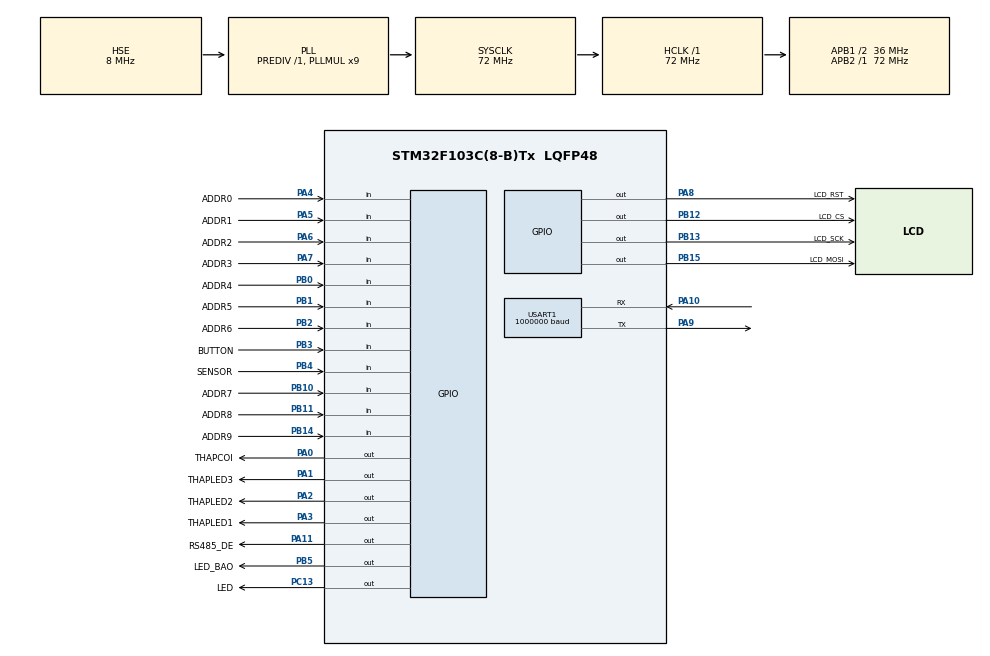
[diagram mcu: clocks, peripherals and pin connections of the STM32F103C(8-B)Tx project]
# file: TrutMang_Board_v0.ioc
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Mcu.Family=STM32F1
Mcu.Name=STM32F103C(8-B)Tx
Mcu.Package=LQFP48
NVIC.PriorityGroup=NVIC_PRIORITYGROUP_4
NVIC.TIM1_UP_IRQn=true\:0\:0\:false\:false\:true\:true\:true\:true
NVIC.TIM2_IRQn=true\:0\:0\:false\:false\:true\:true\:true\:true
NVIC.USART1_IRQn=true\:0\:0\:false\:false\:true\:true\:true\:true
PA0-WKUP.GPIO_Label=THAPCOI
PA0-WKUP.Signal=GPIO_Output
PA1.GPIO_Label=THAPLED3
PA1.Signal=GPIO_Output
PA10.Mode=Asynchronous
PA10.Signal=USART1_RX
PA11.GPIO_Label=RS485_DE
PA11.Signal=GPIO_Output
PA13.Mode=Serial_Wire
PA13.Signal=SYS_JTMS-SWDIO
PA14.Mode=Serial_Wire
PA14.Signal=SYS_JTCK-SWCLK
PA2.GPIO_Label=THAPLED2
PA2.Signal=GPIO_Output
PA3.GPIO_Label=THAPLED1
PA3.Signal=GPIO_Output
PA4.GPIO_Label=ADDR0
PA4.GPIO_PuPd=GPIO_PULLUP
PA4.Signal=GPIO_Input
PA5.GPIO_Label=ADDR1
PA5.GPIO_PuPd=GPIO_PULLUP
PA5.Signal=GPIO_Input
PA6.GPIO_Label=ADDR2
PA6.GPIO_PuPd=GPIO_PULLUP
PA6.Signal=GPIO_Input
PA7.GPIO_Label=ADDR3
PA7.GPIO_PuPd=GPIO_PULLUP
PA7.Signal=GPIO_Input
PA8.GPIO_Label=LCD_RST
PA8.Signal=GPIO_Output
PA9.Mode=Asynchronous
PA9.Signal=USART1_TX
PB0.GPIO_Label=ADDR4
PB0.GPIO_PuPd=GPIO_PULLUP
PB0.Signal=GPIO_Input
PB1.GPIO_Label=ADDR5
PB1.GPIO_PuPd=GPIO_PULLUP
PB1.Signal=GPIO_Input
PB10.GPIO_Label=ADDR7
PB10.GPIO_PuPd=GPIO_PULLUP
PB10.Signal=GPIO_Input
PB11.GPIO_Label=ADDR8
PB11.GPIO_PuPd=GPIO_PULLUP
PB11.Signal=GPIO_Input
PB12.GPIO_Label=LCD_CS
PB12.Signal=GPIO_Output
PB13.GPIO_Label=LCD_SCK
PB13.Signal=GPIO_Output
PB14.GPIO_Label=ADDR9
PB14.GPIO_PuPd=GPIO_PULLUP
PB14.Signal=GPIO_Input
PB15.GPIO_Label=LCD_MOSI
PB15.Signal=GPIO_Output
PB2.GPIO_Label=ADDR6
PB2.GPIO_PuPd=GPIO_PULLUP
PB2.Signal=GPIO_Input
PB3.GPIO_Label=BUTTON
PB3.GPIO_PuPd=GPIO_PULLUP
PB3.Signal=GPIO_Input
PB4.GPIO_Label=SENSOR
PB4.Signal=GPIO_Input
PB5.GPIO_Label=LED_BAO
PB5.Signal=GPIO_Output
PC13-TAMPER-RTC.GPIO_Label=LED
PC13-TAMPER-RTC.Signal=GPIO_Output
PD0-OSC_IN.Mode=HSE-External-Oscillator
PD0-OSC_IN.Signal=RCC_OSC_IN
PD1-OSC_OUT.Mode=HSE-External-Oscillator
PD1-OSC_OUT.Signal=RCC_OSC_OUT
ProjectManager.HeapSize=0x200
ProjectManager.StackSize=0x400
ProjectManager.TargetToolchain=MDK-ARM V5.32
RCC.AHBFreq_Value=72000000
RCC.APB1CLKDivider=RCC_HCLK_DIV2
RCC.APB1Freq_Value=36000000
RCC.APB1TimFreq_Value=72000000
RCC.APB2Freq_Value=72000000
RCC.APB2TimFreq_Value=72000000
RCC.HCLKFreq_Value=72000000
RCC.PLLMUL=RCC_PLL_MUL9
RCC.PLLSourceVirtual=RCC_PLLSOURCE_HSE
RCC.SYSCLKFreq_VALUE=72000000
RCC.SYSCLKSource=RCC_SYSCLKSOURCE_PLLCLK
RCC.USBFreq_Value=72000000
TIM1.Prescaler=71
TIM2.Period=999
TIM2.Prescaler=71
USART1.BaudRate=1000000
USART1.VirtualMode=VM_ASYNC
VP_TIM1_VS_ClockSourceINT.Mode=Internal
VP_TIM2_VS_ClockSourceINT.Mode=Internal
board=custom

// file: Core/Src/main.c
/* USER CODE BEGIN Header */
/**
  ******************************************************************************
  * @file           : main.c
  * @brief          : Main program body
  ******************************************************************************
  * @attention
  *
  * Copyright (c) 2024 STMicroelectronics.
  * All rights reserved.
  *
  * This software is licensed under terms that can be found in the LICENSE file
  * in the root directory of this software component.
  * If no LICENSE file comes with this software, it is provided AS-IS.
  *
  ******************************************************************************
  */
/* USER CODE END Header */
#include "main.h"

/* USER CODE BEGIN Includes */
#include "st7920.h"
#include <string.h>
#include <stdio.h>
#include "stdlib.h"
#include <math.h>
#include "rs485.h"

/* USER CODE END Includes */

TIM_HandleTypeDef htim1;
TIM_HandleTypeDef htim2;

UART_HandleTypeDef huart1;

/* USER CODE BEGIN PV */
	uint16_t cnt_flag_led = 0;

	char ROW0[16], ROW1[16], ROW2[16], ROW3[16];

	extern rs485_t vRS485;
	extern const unsigned char viettel_post[];

	uint16_t flag_display_lcd = 0;

	uint16_t cnt_flag_autosend = 0;

	uint8_t num_id = 1;

	uint16_t num_irq = 0;

	uint8_t sensor_status = 0;

	uint32_t start;

	uint16_t time_alarm = 2000;

	uint8_t led_status;

	uint8_t flag_sensor;

	uint16_t cnt_RS485_send;

	uint8_t hour = 0;
	uint8_t minute = 0;
	uint32_t danhan = 0, dagui = 0, miss_mess = 0;
	uint16_t num_rx = 0;

	uint16_t address_chute;

	uint16_t quantity=999;

	uint8_t a0,a1,a2,a3,a4,a5,a6,a7,a8,a9;

	uint8_t rxbuff[16];

	uint8_t ID_chute = 0x01;

	uint8_t quanty_sp;

	uint8_t cnt_ID = 0;

	char *chute_status;

	uint16_t address_chute = 1;

/* USER CODE END PV */

/* Priv	ate function prototypes -----------------------------------------------*/
void SystemClock_Config(void);
static void MX_GPIO_Init(void);
static void MX_TIM1_Init(void);
static void MX_USART1_UART_Init(void);
static void MX_TIM2_Init(void);

/* USER CODE BEGIN 0 */

		void HAL_UART_RxCpltCallback(UART_HandleTypeDef *huart) {
			if(huart->Instance == USART1)
			{
				RS485_Read(&vRS485);
				HAL_UART_Receive_IT(&huart1, &vRS485.rxByte, 1);
			}
		}

	/*_____________________________________________________________*/
//	void HAL_UART_RxCpltCallback(UART_HandleTypeDef *huart) {
//			if(huart->Instance == USART1)
//			{
//				RS485_Read(&vRS485);
//				HAL_UART_Receive_IT(&huart1, &vRS485.rxByte, 1);
//				num_irq++;
//			}
//		}

	/*_____________________________________________________________*/
		void HAL_TIM_PeriodElapsedCallback(TIM_HandleTypeDef *htim){
			UNUSED(htim);

			if (htim->Instance == htim2.Instance){ 	// every 1ms
				cnt_flag_led++;
				cnt_flag_autosend++;
				flag_display_lcd++;
				cnt_RS485_send++;
			}
		}

/* USER CODE END 0 */

int main(void)
{

  /* MCU Configuration--------------------------------------------------------*/

  /* Reset of all peripherals, Initializes the Flash interface and the Systick. */
  HAL_Init();

  /* Configure the system clock */
  SystemClock_Config();

  /* Initialize all configured peripherals */
  MX_GPIO_Init();
  MX_TIM1_Init();
  MX_USART1_UART_Init();
  MX_TIM2_Init();
  /* USER CODE BEGIN 2 */
	RS485_Init(&vRS485,&huart1);

	HAL_TIM_Base_Start_IT(&htim1);
	HAL_TIM_Base_Start_IT(&htim2);

	memset(ROW0, 0x00, 16);
	memset(ROW1, 0x00, 16);
	memset(ROW2, 0x00, 16);
	memset(ROW3, 0x00, 16);

	ST7920_Init();

	ST7920_GraphicMode(1);
	ST7920_DrawBitmap(viettel_post);

	HAL_Delay(2000);

	ST7920_GraphicMode(0);
	ST7920_Clear();

//	sprintf(ROW0, "ID: %d", vRS485.ID_Board);
//	sprintf(ROW1, "LEHUUAN - 457735");
//	sprintf(ROW2, "VIETTEL POST");
//	sprintf(ROW3, "THEOCACHCUABAN");

//	ST7920_SendString(0, 0, ROW0);
//	ST7920_SendString(1, 0, ROW1);
//	ST7920_SendString(2, 0, ROW2);
//	ST7920_SendString(3, 0, ROW3);

//	HAL_UART_Receive_IT(&huart1, &vRS485.rxByte, 1);

  /* USER CODE END 2 */

  /* Infinite loop */
  while (1)
  {

    /* USER CODE BEGIN 3 */

//		a0 = HAL_GPIO_ReadPin(ADDR0_GPIO_Port,ADDR0_Pin);
//		a1 = HAL_GPIO_ReadPin(ADDR1_GPIO_Port,ADDR1_Pin);
//		a2 = HAL_GPIO_ReadPin(ADDR2_GPIO_Port,ADDR2_Pin);
//		a3 = HAL_GPIO_ReadPin(ADDR3_GPIO_Port,ADDR3_Pin);
//		a4 = HAL_GPIO_ReadPin(ADDR4_GPIO_Port,ADDR4_Pin);
//		a5 = HAL_GPIO_ReadPin(ADDR5_GPIO_Port,ADDR5_Pin);
//		a6 = HAL_GPIO_ReadPin(ADDR6_GPIO_Port,ADDR6_Pin);
//		a7 = HAL_GPIO_ReadPin(ADDR7_GPIO_Port,ADDR7_Pin);
//		a8 = HAL_GPIO_ReadPin(ADDR8_GPIO_Port,ADDR8_Pin);
//		a9 = HAL_GPIO_ReadPin(ADDR9_GPIO_Port,ADDR9_Pin);
//
//		address_chute = a0|a1<<1|a2<<2|a3<<3|a4<<4|a5<<5|a6<<6|a7<<7|a8<<8|a9<<9;
//
//		sensor_status = HAL_GPIO_ReadPin(SENSOR_GPIO_Port,SENSOR_Pin);
//
//		if(sensor_status == 1)
//		{
//				flag_sensor = 1;
//		}
//		else
//		{
//			flag_sensor = 0;
//			start = HAL_GetTick();
//		}
//		if(flag_sensor == 1)
//		{
//			if(HAL_GetTick() - start < 0)
//			{
//				uint16_t time_alarm1;
//				time_alarm1 = pow(2,32)-1-start+HAL_GetTick();
//				if(time_alarm1 >= time_alarm)
//				{
//					led_status = 1;
//				}
//			}
//			if(HAL_GetTick() - start >= time_alarm)
//			{
//				led_status = 1;
//			}
//		}
//
//		if(flag_sensor == 0)
//		{
//				led_status = 0;
//		}
//
//		if(led_status==1)
//		{
//			chute_status = "day";
//			HAL_GPIO_WritePin(LED_BAO_GPIO_Port,LED_BAO_Pin,GPIO_PIN_SET);
////			HAL_GPIO_WritePin(THAPCOI_GPIO_Port,THAPCOI_Pin,GPIO_PIN_SET);
//			HAL_GPIO_TogglePin(THAPLED1_GPIO_Port,THAPLED1_Pin);
//			HAL_GPIO_TogglePin(THAPLED2_GPIO_Port,THAPLED2_Pin);
//			HAL_GPIO_TogglePin(THAPLED3_GPIO_Port,THAPLED3_Pin);
//			HAL_Delay(500);
//		}
//		else
//		{
//			chute_status="chua day";
//			HAL_GPIO_WritePin(LED_BAO_GPIO_Port,LED_BAO_Pin,GPIO_PIN_RESET);
////			HAL_GPIO_WritePin(THAPCOI_GPIO_Port,THAPCOI_Pin,GPIO_PIN_SET);
//			HAL_GPIO_WritePin(THAPLED1_GPIO_Port,THAPLED1_Pin,GPIO_PIN_RESET);
//			HAL_GPIO_WritePin(THAPLED2_GPIO_Port,THAPLED2_Pin,GPIO_PIN_RESET);
//			HAL_GPIO_WritePin(THAPLED3_GPIO_Port,THAPLED3_Pin,GPIO_PIN_RESET);
//		}

		if(cnt_RS485_send>=1000)
		{
			cnt_RS485_send = 0;
			cnt_ID++;

			HAL_GPIO_WritePin(RS485_DE_GPIO_Port,RS485_DE_Pin,GPIO_PIN_SET);
			vRS485.txBuff[0] = 0xFE;
			vRS485.txBuff[1] = 0xFE;
			vRS485.txBuff[2] = cnt_ID>>8&0xFF;
			vRS485.txBuff[3] = cnt_ID&0xFF;
			vRS485.txBuff[4] = quanty_sp; // so luong san pham
			vRS485.txBuff[5] = 0x00;
			vRS485.txBuff[6] = 0x00;
			vRS485.txBuff[7] = 0x00;
			vRS485.txBuff[8] = 0x00;
			vRS485.txBuff[9] = 0x00;
			vRS485.txBuff[10] =	0x00;
			vRS485.txBuff[11] = 0x00;
			vRS485.txBuff[12] = 0x00;
			vRS485.txBuff[13] = 0x00;
			vRS485.txBuff[14] = 0xFD;
			vRS485.txBuff[15] = 0xFF;

			if(cnt_ID == 7)
			{
				cnt_ID = 0;
			}

			vRS485.TxFlag = 1;
		}

		if(vRS485.RxFlag == 1){
			HAL_GPIO_WritePin(RS485_DE_GPIO_Port, RS485_DE_Pin, GPIO_PIN_SET);
			vRS485.RxFlag = 0;

			//Xu ly data nhan duoc o day
			for(int i=0; i<16; i++){
					rxbuff[i] = vRS485.rxBuff[i];
			}
			//for(uint16_t index=0; index<1000; index++);			//delay with for 200us
			vRS485.STATE = USART_WAIT;
		}

		if(vRS485.TxFlag == 1)
			{
				RS485_SendData(&vRS485, USART1, 2000);
			}

		if(flag_display_lcd >= 1000){
			flag_display_lcd = 0;

		//	address_chute = (rxbuff[3]<<8)|rxbuff[4];

			ST7920_GraphicMode(0);
			ST7920_Clear();
			//HAL_Delay(5);

			sprintf(ROW0, "Hello world");
			sprintf(ROW1, "%u",vRS485.cnt_mess_sent);
			sprintf(ROW2, "%u",vRS485.cnt_mess_received);

			ST7920_SendString(0, 0, ROW0);
			ST7920_SendString(1, 0, ROW1);
			ST7920_SendString(2, 0, ROW2);
			ST7920_SendString(3, 0, ROW3);
		}

//		if(cnt_flag_autosend >= 10){
//			cnt_flag_autosend = 0;
//			HAL_GPIO_WritePin(RS485_DE_GPIO_Port, RS485_DE_Pin, GPIO_PIN_SET);
//
//			vRS485.txBuff[0] = 0xFE;
//			vRS485.txBuff[1] = 0x00;
//
//			if(num_id == 2)
//				vRS485.txBuff[2] = 0x02;
//			else if(num_id == 3)
//				vRS485.txBuff[2] = 0x03;
//			else if(num_id == 4)
//				vRS485.txBuff[2] = 0x04;
//			else
//				vRS485.txBuff[2] = 0xFF;
//
//			if(++num_id > 4)
//				num_id = 2;
//
//
//			vRS485.txBuff[3] = rand() % 100;
//			for(uint8_t i = 4; i< SIZE_RS485 - 1; i++)
//				vRS485.txBuff[i] = 0xFF;
//			vRS485.txBuff[SIZE_RS485 - 1] = 0xFF;
//
//			HAL_Delay(5);

//
//			HAL_UART_Transmit(&huart1, vRS485.txBuff, SIZE_RS485, HAL_MAX_DELAY);
//			//HAL_GPIO_WritePin(RS485_DE_GPIO_Port, RS485_DE_Pin, GPIO_PIN_RESET);
//			vRS485.cnt_mess_send++;
//			flag_display_lcd = 1;
//
//		}

		if(cnt_flag_led >= 100){
			cnt_flag_led = 0;
			HAL_GPIO_TogglePin(LED_GPIO_Port, LED_Pin);
		}

  }
  /* USER CODE END 3 */
}

void SystemClock_Config(void)
{
  RCC_OscInitTypeDef RCC_OscInitStruct = {0};
  RCC_ClkInitTypeDef RCC_ClkInitStruct = {0};

  /** Initializes the RCC Oscillators according to the specified parameters
  * in the RCC_OscInitTypeDef structure.
  */
  RCC_OscInitStruct.OscillatorType = RCC_OSCILLATORTYPE_HSE;
  RCC_OscInitStruct.HSEState = RCC_HSE_ON;
  RCC_OscInitStruct.HSEPredivValue = RCC_HSE_PREDIV_DIV1;
  RCC_OscInitStruct.HSIState = RCC_HSI_ON;
  RCC_OscInitStruct.PLL.PLLState = RCC_PLL_ON;
  RCC_OscInitStruct.PLL.PLLSource = RCC_PLLSOURCE_HSE;
  RCC_OscInitStruct.PLL.PLLMUL = RCC_PLL_MUL9;
  if (HAL_RCC_OscConfig(&RCC_OscInitStruct) != HAL_OK)
  {
    Error_Handler();
  }

  /** Initializes the CPU, AHB and APB buses clocks
  */
  RCC_ClkInitStruct.ClockType = RCC_CLOCKTYPE_HCLK|RCC_CLOCKTYPE_SYSCLK
                              |RCC_CLOCKTYPE_PCLK1|RCC_CLOCKTYPE_PCLK2;
  RCC_ClkInitStruct.SYSCLKSource = RCC_SYSCLKSOURCE_PLLCLK;
  RCC_ClkInitStruct.AHBCLKDivider = RCC_SYSCLK_DIV1;
  RCC_ClkInitStruct.APB1CLKDivider = RCC_HCLK_DIV2;
  RCC_ClkInitStruct.APB2CLKDivider = RCC_HCLK_DIV1;

  if (HAL_RCC_ClockConfig(&RCC_ClkInitStruct, FLASH_LATENCY_2) != HAL_OK)
  {
    Error_Handler();
  }
}

static void MX_TIM1_Init(void)
{

  TIM_ClockConfigTypeDef sClockSourceConfig = {0};
  TIM_MasterConfigTypeDef sMasterConfig = {0};

  htim1.Instance = TIM1;
  htim1.Init.Prescaler = 71;
  htim1.Init.CounterMode = TIM_COUNTERMODE_UP;
  htim1.Init.Period = 65535;
  htim1.Init.ClockDivision = TIM_CLOCKDIVISION_DIV1;
  htim1.Init.RepetitionCounter = 0;
  htim1.Init.AutoReloadPreload = TIM_AUTORELOAD_PRELOAD_DISABLE;
  if (HAL_TIM_Base_Init(&htim1) != HAL_OK)
  {
    Error_Handler();
  }
  sClockSourceConfig.ClockSource = TIM_CLOCKSOURCE_INTERNAL;
  if (HAL_TIM_ConfigClockSource(&htim1, &sClockSourceConfig) != HAL_OK)
  {
    Error_Handler();
  }
  sMasterConfig.MasterOutputTrigger = TIM_TRGO_RESET;
  sMasterConfig.MasterSlaveMode = TIM_MASTERSLAVEMODE_DISABLE;
  if (HAL_TIMEx_MasterConfigSynchronization(&htim1, &sMasterConfig) != HAL_OK)
  {
    Error_Handler();
  }

}

static void MX_TIM2_Init(void)
{

  TIM_ClockConfigTypeDef sClockSourceConfig = {0};
  TIM_MasterConfigTypeDef sMasterConfig = {0};

  htim2.Instance = TIM2;
  htim2.Init.Prescaler = 71;
  htim2.Init.CounterMode = TIM_COUNTERMODE_UP;
  htim2.Init.Period = 999;
  htim2.Init.ClockDivision = TIM_CLOCKDIVISION_DIV1;
  htim2.Init.AutoReloadPreload = TIM_AUTORELOAD_PRELOAD_DISABLE;
  if (HAL_TIM_Base_Init(&htim2) != HAL_OK)
  {
    Error_Handler();
  }
  sClockSourceConfig.ClockSource = TIM_CLOCKSOURCE_INTERNAL;
  if (HAL_TIM_ConfigClockSource(&htim2, &sClockSourceConfig) != HAL_OK)
  {
    Error_Handler();
  }
  sMasterConfig.MasterOutputTrigger = TIM_TRGO_RESET;
  sMasterConfig.MasterSlaveMode = TIM_MASTERSLAVEMODE_DISABLE;
  if (HAL_TIMEx_MasterConfigSynchronization(&htim2, &sMasterConfig) != HAL_OK)
  {
    Error_Handler();
  }

}

static void MX_USART1_UART_Init(void)
{

  huart1.Instance = USART1;
  huart1.Init.BaudRate = 115200;
  huart1.Init.WordLength = UART_WORDLENGTH_8B;
  huart1.Init.StopBits = UART_STOPBITS_1;
  huart1.Init.Parity = UART_PARITY_NONE;
  huart1.Init.Mode = UART_MODE_TX_RX;
  huart1.Init.HwFlowCtl = UART_HWCONTROL_NONE;
  huart1.Init.OverSampling = UART_OVERSAMPLING_16;
  if (HAL_UART_Init(&huart1) != HAL_OK)
  {
    Error_Handler();
  }

}

static void MX_GPIO_Init(void)
{
  GPIO_InitTypeDef GPIO_InitStruct = {0};

  /* GPIO Ports Clock Enable */
  __HAL_RCC_GPIOC_CLK_ENABLE();
  __HAL_RCC_GPIOD_CLK_ENABLE();
  __HAL_RCC_GPIOA_CLK_ENABLE();
  __HAL_RCC_GPIOB_CLK_ENABLE();

  /*Configure GPIO pin Output Level */
  HAL_GPIO_WritePin(LED_GPIO_Port, LED_Pin, GPIO_PIN_RESET);

  /*Configure GPIO pin Output Level */
  HAL_GPIO_WritePin(GPIOA, THAPCOI_Pin|THAPLED3_Pin|THAPLED2_Pin|THAPLED1_Pin
                          |LCD_RST_Pin|RS485_DE_Pin, GPIO_PIN_RESET);

  /*Configure GPIO pin Output Level */
  HAL_GPIO_WritePin(GPIOB, LCD_CS_Pin|LCD_SCK_Pin|LCD_MOSI_Pin|LED_BAO_Pin, GPIO_PIN_RESET);

  /*Configure GPIO pin : LED_Pin */
  GPIO_InitStruct.Pin = LED_Pin;
  GPIO_InitStruct.Mode = GPIO_MODE_OUTPUT_PP;
  GPIO_InitStruct.Pull = GPIO_NOPULL;
  GPIO_InitStruct.Speed = GPIO_SPEED_FREQ_LOW;
  HAL_GPIO_Init(LED_GPIO_Port, &GPIO_InitStruct);

  /*Configure GPIO pins : THAPCOI_Pin THAPLED3_Pin THAPLED2_Pin THAPLED1_Pin
                           LCD_RST_Pin RS485_DE_Pin */
  GPIO_InitStruct.Pin = THAPCOI_Pin|THAPLED3_Pin|THAPLED2_Pin|THAPLED1_Pin
                          |LCD_RST_Pin|RS485_DE_Pin;
  GPIO_InitStruct.Mode = GPIO_MODE_OUTPUT_PP;
  GPIO_InitStruct.Pull = GPIO_NOPULL;
  GPIO_InitStruct.Speed = GPIO_SPEED_FREQ_LOW;
  HAL_GPIO_Init(GPIOA, &GPIO_InitStruct);

  /*Configure GPIO pins : ADDR0_Pin ADDR1_Pin ADDR2_Pin ADDR3_Pin */
  GPIO_InitStruct.Pin = ADDR0_Pin|ADDR1_Pin|ADDR2_Pin|ADDR3_Pin;
  GPIO_InitStruct.Mode = GPIO_MODE_INPUT;
  GPIO_InitStruct.Pull = GPIO_PULLUP;
  HAL_GPIO_Init(GPIOA, &GPIO_InitStruct);

  /*Configure GPIO pins : ADDR4_Pin ADDR5_Pin ADDR6_Pin ADDR7_Pin
                           ADDR8_Pin ADDR9_Pin BUTTON_Pin */
  GPIO_InitStruct.Pin = ADDR4_Pin|ADDR5_Pin|ADDR6_Pin|ADDR7_Pin
                          |ADDR8_Pin|ADDR9_Pin|BUTTON_Pin;
  GPIO_InitStruct.Mode = GPIO_MODE_INPUT;
  GPIO_InitStruct.Pull = GPIO_PULLUP;
  HAL_GPIO_Init(GPIOB, &GPIO_InitStruct);

  /*Configure GPIO pins : LCD_CS_Pin LCD_SCK_Pin LCD_MOSI_Pin LED_BAO_Pin */
  GPIO_InitStruct.Pin = LCD_CS_Pin|LCD_SCK_Pin|LCD_MOSI_Pin|LED_BAO_Pin;
  GPIO_InitStruct.Mode = GPIO_MODE_OUTPUT_PP;
  GPIO_InitStruct.Pull = GPIO_NOPULL;
  GPIO_InitStruct.Speed = GPIO_SPEED_FREQ_LOW;
  HAL_GPIO_Init(GPIOB, &GPIO_InitStruct);

  /*Configure GPIO pin : SENSOR_Pin */
  GPIO_InitStruct.Pin = SENSOR_Pin;
  GPIO_InitStruct.Mode = GPIO_MODE_INPUT;
  GPIO_InitStruct.Pull = GPIO_NOPULL;
  HAL_GPIO_Init(SENSOR_GPIO_Port, &GPIO_InitStruct);

}

void Error_Handler(void)
{
  __disable_irq();
  while (1)
  {
  }
}
